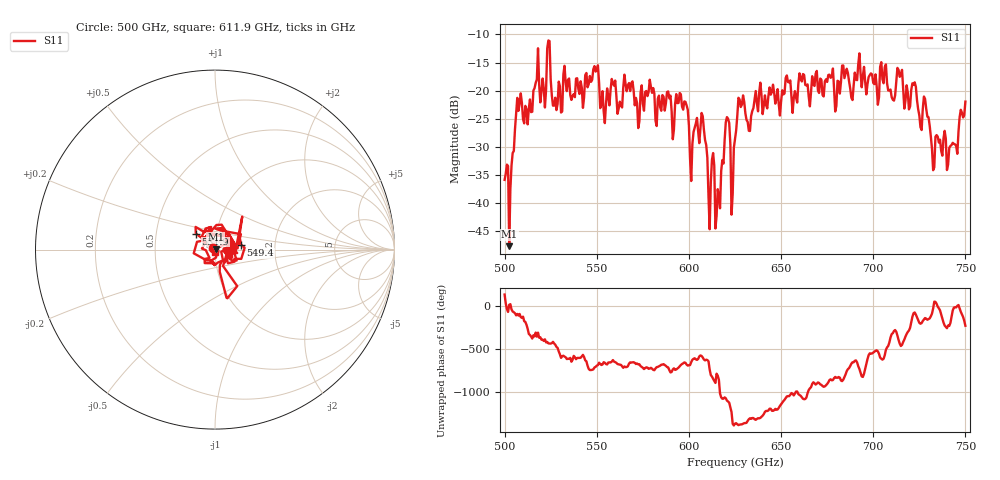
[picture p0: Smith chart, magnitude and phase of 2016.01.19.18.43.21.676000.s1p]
!Created with skrf (http://scikit-rf.org).
# GHz S RI R 50.0
!freq ReS11 ImS11
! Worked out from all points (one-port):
!   401 points, 500 GHz to 750 GHz, reference 50 ohm
!   lowest |S11| = -47.7 dB at 502.5 GHz (marker M1), VSWR 1.01, Z = 50.4 + j0.108 ohm
!   |S11| at or under -10 dB: start of sweep to end of sweep
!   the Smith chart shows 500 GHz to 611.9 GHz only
!   S11 on the Smith chart (normalised r, x): 500 GHz: 0.98, +0.02; 531.9 GHz: 0.80, +0.14; 549.4 GHz: 1.34, +0.07; 611.9 GHz: 1.00, -0.03
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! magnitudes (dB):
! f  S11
! 500 GHz  -35.9
! 502.5 GHz  -47.7
! 507.5 GHz  -23.6
! 520.6 GHz  -17.8
! 523.8 GHz  -11.1
! 526.9 GHz  -22.7
! 531.2 GHz  -23.7
! 531.9 GHz  -17.1
! 549.4 GHz  -16.6
! 553.1 GHz  -20.1
! 558.8 GHz  -18.6
! 562.5 GHz  -22.0
! 593.8 GHz  -22.2
! 601.2 GHz  -36.1
! 607.5 GHz  -24.6
! 611.9 GHz  -36.3
! 615.6 GHz  -37.6
! 620.6 GHz  -24.7
! 623.8 GHz  -38.4
! 625 GHz  -28.6
! 628.1 GHz  -22.9
! 632.5 GHz  -27.2
! 656.2 GHz  -24.0
! 687.5 GHz  -19.6
! 714.4 GHz  -17.5
! 718.8 GHz  -20.4
! 741.2 GHz  -30.2
! 750 GHz  -22.0
